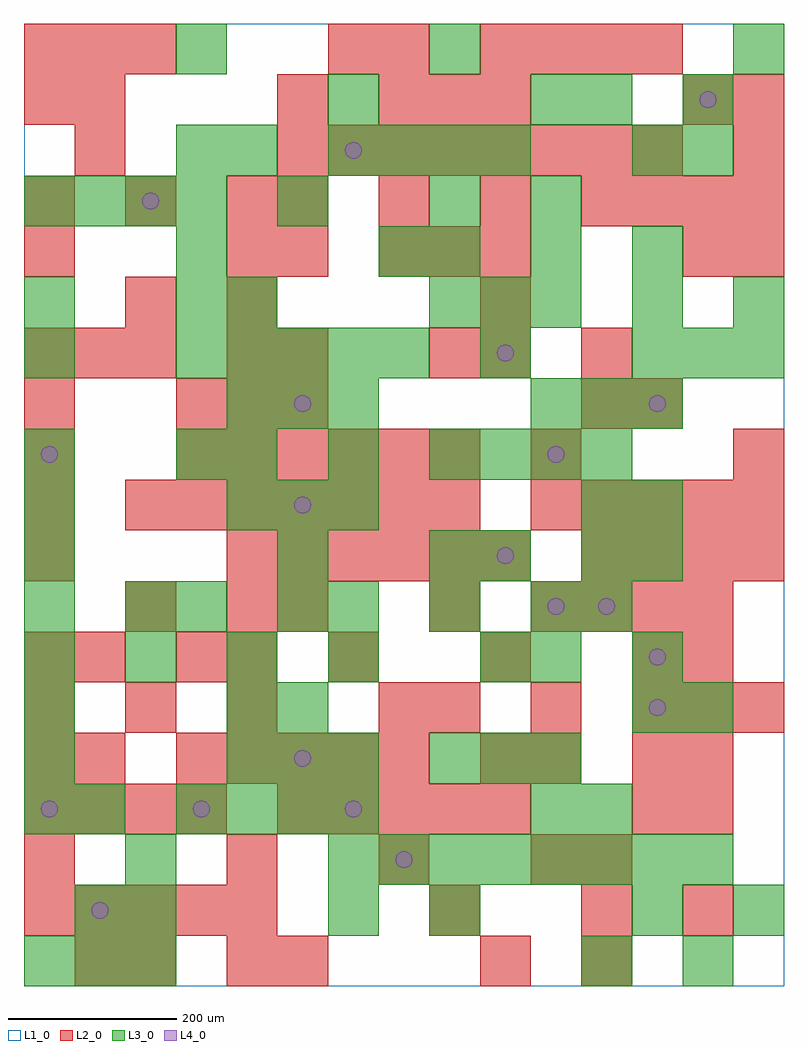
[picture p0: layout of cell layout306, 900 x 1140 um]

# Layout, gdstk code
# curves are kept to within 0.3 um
import gdstk
lib = gdstk.Library(unit=1e-6, precision=1e-09)
def R(c, l, rs):  # rectangles x0, y0, x1, y1
    for r in rs: c.add(gdstk.rectangle(r[:2], r[2:], *l))
def A(c, l, x, y, w, h, nx, ny, dx, dy):  # array of equal rectangles
    R(c, l, [(x+i*dx, y+j*dy, x+i*dx+w, y+j*dy+h) for i in range(nx) for j in range(ny)])
def P(c, l, *ps):  # polygons
    for p in ps: c.add(gdstk.Polygon(p, *l))
L1_0 = (1, 0)
L2_0 = (2, 0)
L3_0 = (3, 0)
L4_0 = (4, 0)

layout306 = lib.new_cell('layout306')
R(layout306, L1_0, [(0,0,900,1140)])
A(layout306, L2_0, 660, 0, 60, 60, 1, 3, 0, 60)
A(layout306, L2_0, 0, 60, 60, 60, 5, 1, 60, 0)
A(layout306, L2_0, 0, 120, 60, 60, 1, 4, 0, 120)
A(layout306, L2_0, 240, 120, 60, 60, 3, 1, 180, 0)
A(layout306, L2_0, 0, 180, 60, 60, 4, 1, 60, 0)
A(layout306, L2_0, 300, 180, 60, 60, 5, 1, 60, 0)
A(layout306, L2_0, 780, 180, 60, 60, 1, 4, 0, 60)
A(layout306, L2_0, 180, 240, 60, 60, 5, 1, 60, 0)
A(layout306, L2_0, 0, 300, 60, 60, 3, 2, 120, 600)
A(layout306, L2_0, 480, 300, 60, 60, 3, 1, 120, 0)
A(layout306, L2_0, 360, 360, 60, 60, 3, 1, 180, 0)
A(layout306, L2_0, 600, 420, 60, 60, 4, 1, 60, 0)
A(layout306, L2_0, 240, 480, 60, 60, 6, 1, 60, 0)
A(layout306, L2_0, 660, 480, 60, 60, 4, 1, 60, 0)
A(layout306, L2_0, 0, 540, 60, 60, 1, 3, 0, 60)
A(layout306, L2_0, 120, 540, 60, 60, 7, 1, 60, 0)
A(layout306, L2_0, 600, 540, 60, 60, 5, 1, 60, 0)
A(layout306, L2_0, 180, 600, 60, 60, 6, 1, 60, 0)
A(layout306, L2_0, 180, 660, 60, 60, 3, 1, 60, 0)
A(layout306, L2_0, 0, 720, 60, 60, 3, 2, 60, 360)
A(layout306, L2_0, 240, 720, 60, 60, 1, 3, 0, 60)
A(layout306, L2_0, 420, 840, 60, 60, 3, 2, 60, 180)
A(layout306, L2_0, 300, 900, 60, 60, 4, 1, 120, 0)
A(layout306, L2_0, 720, 900, 60, 60, 3, 1, 60, 0)
A(layout306, L2_0, 300, 960, 60, 60, 8, 1, 60, 0)
A(layout306, L2_0, 540, 1080, 60, 60, 4, 1, 60, 0)
R(layout306, L2_0, [(60,0,120,60), (120,0,180,60), (240,0,300,60), (300,0,360,60), (540,0,600,60), (480,60,540,120), (780,60,840,120), (720,180,780,240), (60,240,120,300), (540,240,600,300), (600,240,660,300), (720,240,780,300), (420,300,480,360), (840,300,900,360), (60,360,120,420), (180,360,240,420), (240,360,300,420), (120,420,180,480), (240,420,300,480), (300,420,360,480), (480,420,540,480), (600,600,660,660), (840,600,900,660), (660,660,720,720), (720,660,780,720), (300,720,360,780), (480,720,540,780), (540,720,600,780), (660,720,720,780), (120,780,180,840), (540,780,600,840), (0,840,60,900), (300,840,360,900), (780,840,840,900), (840,840,900,900), (60,960,120,1020), (840,960,900,1020), (0,1020,60,1080), (60,1020,120,1080), (300,1020,360,1080), (780,1020,840,1080), (840,1020,900,1080), (360,1080,420,1140), (420,1080,480,1140)])
A(layout306, L3_0, 0, 0, 60, 60, 3, 1, 60, 0)
A(layout306, L3_0, 480, 60, 60, 60, 1, 3, 0, 420)
A(layout306, L3_0, 360, 120, 60, 60, 8, 1, 60, 0)
A(layout306, L3_0, 0, 180, 60, 60, 1, 3, 0, 60)
A(layout306, L3_0, 180, 180, 60, 60, 4, 1, 60, 0)
A(layout306, L3_0, 240, 240, 60, 60, 3, 2, 60, 300)
A(layout306, L3_0, 480, 240, 60, 60, 3, 2, 60, 540)
A(layout306, L3_0, 0, 360, 60, 60, 4, 1, 120, 0)
A(layout306, L3_0, 0, 420, 60, 60, 1, 4, 0, 60)
A(layout306, L3_0, 180, 420, 60, 60, 1, 3, 0, 180)
A(layout306, L3_0, 360, 420, 60, 60, 3, 1, 120, 0)
A(layout306, L3_0, 660, 420, 60, 60, 1, 3, 0, 60)
A(layout306, L3_0, 240, 600, 60, 60, 3, 1, 120, 0)
A(layout306, L3_0, 540, 600, 60, 60, 3, 1, 60, 0)
A(layout306, L3_0, 240, 660, 60, 60, 3, 1, 60, 0)
A(layout306, L3_0, 600, 660, 60, 60, 3, 1, 60, 0)
A(layout306, L3_0, 180, 720, 60, 60, 5, 1, 60, 0)
A(layout306, L3_0, 720, 720, 60, 60, 3, 1, 60, 0)
A(layout306, L3_0, 180, 840, 60, 60, 1, 3, 0, 120)
A(layout306, L3_0, 480, 840, 60, 60, 3, 1, 120, 0)
A(layout306, L3_0, 0, 900, 60, 60, 4, 1, 60, 0)
A(layout306, L3_0, 360, 960, 60, 60, 4, 1, 60, 0)
R(layout306, L3_0, [(660,0,720,60), (780,0,840,60), (60,60,120,120), (120,60,180,120), (360,60,420,120), (720,60,780,120), (840,60,900,120), (120,120,180,180), (60,180,120,240), (600,180,660,240), (660,180,720,240), (240,300,300,360), (300,300,360,360), (720,300,780,360), (780,300,840,360), (540,360,600,420), (600,360,660,420), (720,360,780,420), (120,420,180,480), (300,420,360,480), (300,480,360,540), (540,480,600,540), (720,480,780,540), (720,540,780,600), (0,720,60,780), (540,720,600,780), (0,780,60,840), (240,780,300,840), (720,780,780,840), (840,780,900,840), (420,840,480,900), (300,900,360,960), (600,900,660,960), (240,960,300,1020), (720,960,780,1020), (780,960,840,1020), (360,1020,420,1080), (600,1020,660,1080), (660,1020,720,1080), (780,1020,840,1080), (480,1080,540,1140), (840,1080,900,1140)])
P(layout306, L4_0, [(40,210),(39.239,213.827),(37.071,217.071),(33.827,219.239),(30,220),(26.173,219.239),(22.929,217.071),(20.761,213.827),(20,210),(20.761,206.173),(22.929,202.929),(26.173,200.761),(30,200),(33.827,200.761),(37.071,202.929),(39.239,206.173)],
  [(40,630),(39.239,633.827),(37.071,637.071),(33.827,639.239),(30,640),(26.173,639.239),(22.929,637.071),(20.761,633.827),(20,630),(20.761,626.173),(22.929,622.929),(26.173,620.761),(30,620),(33.827,620.761),(37.071,622.929),(39.239,626.173)],
  [(100,90),(99.239,93.827),(97.071,97.071),(93.827,99.239),(90,100),(86.173,99.239),(82.929,97.071),(80.761,93.827),(80,90),(80.761,86.173),(82.929,82.929),(86.173,80.761),(90,80),(93.827,80.761),(97.071,82.929),(99.239,86.173)],
  [(160,930),(159.239,933.827),(157.071,937.071),(153.827,939.239),(150,940),(146.173,939.239),(142.929,937.071),(140.761,933.827),(140,930),(140.761,926.173),(142.929,922.929),(146.173,920.761),(150,920),(153.827,920.761),(157.071,922.929),(159.239,926.173)],
  [(220,210),(219.239,213.827),(217.071,217.071),(213.827,219.239),(210,220),(206.173,219.239),(202.929,217.071),(200.761,213.827),(200,210),(200.761,206.173),(202.929,202.929),(206.173,200.761),(210,200),(213.827,200.761),(217.071,202.929),(219.239,206.173)],
  [(340,270),(339.239,273.827),(337.071,277.071),(333.827,279.239),(330,280),(326.173,279.239),(322.929,277.071),(320.761,273.827),(320,270),(320.761,266.173),(322.929,262.929),(326.173,260.761),(330,260),(333.827,260.761),(337.071,262.929),(339.239,266.173)],
  [(340,570),(339.239,573.827),(337.071,577.071),(333.827,579.239),(330,580),(326.173,579.239),(322.929,577.071),(320.761,573.827),(320,570),(320.761,566.173),(322.929,562.929),(326.173,560.761),(330,560),(333.827,560.761),(337.071,562.929),(339.239,566.173)],
  [(340,690),(339.239,693.827),(337.071,697.071),(333.827,699.239),(330,700),(326.173,699.239),(322.929,697.071),(320.761,693.827),(320,690),(320.761,686.173),(322.929,682.929),(326.173,680.761),(330,680),(333.827,680.761),(337.071,682.929),(339.239,686.173)],
  [(400,210),(399.239,213.827),(397.071,217.071),(393.827,219.239),(390,220),(386.173,219.239),(382.929,217.071),(380.761,213.827),(380,210),(380.761,206.173),(382.929,202.929),(386.173,200.761),(390,200),(393.827,200.761),(397.071,202.929),(399.239,206.173)],
  [(400,990),(399.239,993.827),(397.071,997.071),(393.827,999.239),(390,1000),(386.173,999.239),(382.929,997.071),(380.761,993.827),(380,990),(380.761,986.173),(382.929,982.929),(386.173,980.761),(390,980),(393.827,980.761),(397.071,982.929),(399.239,986.173)],
  [(460,150),(459.239,153.827),(457.071,157.071),(453.827,159.239),(450,160),(446.173,159.239),(442.929,157.071),(440.761,153.827),(440,150),(440.761,146.173),(442.929,142.929),(446.173,140.761),(450,140),(453.827,140.761),(457.071,142.929),(459.239,146.173)],
  [(580,510),(579.239,513.827),(577.071,517.071),(573.827,519.239),(570,520),(566.173,519.239),(562.929,517.071),(560.761,513.827),(560,510),(560.761,506.173),(562.929,502.929),(566.173,500.761),(570,500),(573.827,500.761),(577.071,502.929),(579.239,506.173)],
  [(580,750),(579.239,753.827),(577.071,757.071),(573.827,759.239),(570,760),(566.173,759.239),(562.929,757.071),(560.761,753.827),(560,750),(560.761,746.173),(562.929,742.929),(566.173,740.761),(570,740),(573.827,740.761),(577.071,742.929),(579.239,746.173)],
  [(640,450),(639.239,453.827),(637.071,457.071),(633.827,459.239),(630,460),(626.173,459.239),(622.929,457.071),(620.761,453.827),(620,450),(620.761,446.173),(622.929,442.929),(626.173,440.761),(630,440),(633.827,440.761),(637.071,442.929),(639.239,446.173)],
  [(640,630),(639.239,633.827),(637.071,637.071),(633.827,639.239),(630,640),(626.173,639.239),(622.929,637.071),(620.761,633.827),(620,630),(620.761,626.173),(622.929,622.929),(626.173,620.761),(630,620),(633.827,620.761),(637.071,622.929),(639.239,626.173)],
  [(700,450),(699.239,453.827),(697.071,457.071),(693.827,459.239),(690,460),(686.173,459.239),(682.929,457.071),(680.761,453.827),(680,450),(680.761,446.173),(682.929,442.929),(686.173,440.761),(690,440),(693.827,440.761),(697.071,442.929),(699.239,446.173)],
  [(760,330),(759.239,333.827),(757.071,337.071),(753.827,339.239),(750,340),(746.173,339.239),(742.929,337.071),(740.761,333.827),(740,330),(740.761,326.173),(742.929,322.929),(746.173,320.761),(750,320),(753.827,320.761),(757.071,322.929),(759.239,326.173)],
  [(760,390),(759.239,393.827),(757.071,397.071),(753.827,399.239),(750,400),(746.173,399.239),(742.929,397.071),(740.761,393.827),(740,390),(740.761,386.173),(742.929,382.929),(746.173,380.761),(750,380),(753.827,380.761),(757.071,382.929),(759.239,386.173)],
  [(760,690),(759.239,693.827),(757.071,697.071),(753.827,699.239),(750,700),(746.173,699.239),(742.929,697.071),(740.761,693.827),(740,690),(740.761,686.173),(742.929,682.929),(746.173,680.761),(750,680),(753.827,680.761),(757.071,682.929),(759.239,686.173)],
  [(820,1050),(819.239,1053.827),(817.071,1057.071),(813.827,1059.239),(810,1060),(806.173,1059.239),(802.929,1057.071),(800.761,1053.827),(800,1050),(800.761,1046.173),(802.929,1042.929),(806.173,1040.761),(810,1040),(813.827,1040.761),(817.071,1042.929),(819.239,1046.173)])

lib.write_gds('layout306.gds')
